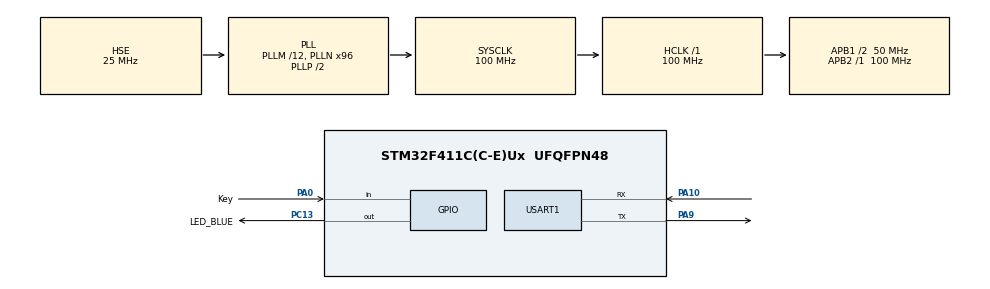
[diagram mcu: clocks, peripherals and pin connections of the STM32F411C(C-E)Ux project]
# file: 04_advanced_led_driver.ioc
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FREERTOS.Tasks01=defaultTask,24,128,StartDefaultTask,Default,NULL,Dynamic,NULL,NULL
Mcu.Family=STM32F4
Mcu.Name=STM32F411C(C-E)Ux
Mcu.Package=UFQFPN48
NVIC.PriorityGroup=NVIC_PRIORITYGROUP_4
NVIC.TIM1_UP_TIM10_IRQn=true\:15\:0\:false\:false\:true\:false\:false\:true\:true
NVIC.TimeBase=TIM1_UP_TIM10_IRQn
NVIC.TimeBaseIP=TIM1
PA0-WKUP.GPIO_Label=Key
PA0-WKUP.GPIO_PuPd=GPIO_PULLUP
PA0-WKUP.Signal=GPIO_Input
PA10.Mode=Asynchronous
PA10.Signal=USART1_RX
PA13.Mode=Serial_Wire
PA13.Signal=SYS_JTMS-SWDIO
PA14.Mode=Serial_Wire
PA14.Signal=SYS_JTCK-SWCLK
PA9.Mode=Asynchronous
PA9.Signal=USART1_TX
PC13-ANTI_TAMP.GPIO_Label=LED_BLUE
PC13-ANTI_TAMP.PinState=GPIO_PIN_SET
PC13-ANTI_TAMP.Signal=GPIO_Output
PC14-OSC32_IN.Mode=LSE-External-Oscillator
PC14-OSC32_IN.Signal=RCC_OSC32_IN
PC15-OSC32_OUT.Mode=LSE-External-Oscillator
PC15-OSC32_OUT.Signal=RCC_OSC32_OUT
PH0\ -\ OSC_IN.Mode=HSE-External-Oscillator
PH0\ -\ OSC_IN.Signal=RCC_OSC_IN
PH1\ -\ OSC_OUT.Mode=HSE-External-Oscillator
PH1\ -\ OSC_OUT.Signal=RCC_OSC_OUT
ProjectManager.HeapSize=0x200
ProjectManager.StackSize=0x400
ProjectManager.TargetToolchain=MDK-ARM V5.32
RCC.48MHZClocksFreq_Value=50000000
RCC.AHBFreq_Value=100000000
RCC.APB1CLKDivider=RCC_HCLK_DIV2
RCC.APB1Freq_Value=50000000
RCC.APB1TimFreq_Value=100000000
RCC.APB2Freq_Value=100000000
RCC.APB2TimFreq_Value=100000000
RCC.CortexFreq_Value=100000000
RCC.HCLKFreq_Value=100000000
RCC.HSE_VALUE=25000000
RCC.HSI_VALUE=16000000
RCC.PLLM=12
RCC.PLLN=96
RCC.PLLSourceVirtual=RCC_PLLSOURCE_HSE
RCC.SYSCLKFreq_VALUE=100000000
RCC.SYSCLKSource=RCC_SYSCLKSOURCE_PLLCLK
RCC.VCOOutputFreq_Value=200000000
USART1.VirtualMode=VM_ASYNC
VP_FREERTOS_VS_CMSIS_V2.Mode=CMSIS_V2
VP_SYS_VS_tim1.Mode=TIM1
board=custom

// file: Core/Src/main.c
/* USER CODE BEGIN Header */
/**
 ******************************************************************************
 * @file           : main.c
 * @brief          : Main program body
 ******************************************************************************
 * @attention
 *
 * Copyright (c) 2025 STMicroelectronics.
 * All rights reserved.
 *
 * This software is licensed under terms that can be found in the LICENSE file
 * in the root directory of this software component.
 * If no LICENSE file comes with this software, it is provided AS-IS.
 *
 ******************************************************************************
 */
/* USER CODE END Header */
#include "main.h"
#include "cmsis_os.h"
#include "usart.h"
#include "gpio.h"

/* USER CODE BEGIN Includes */
#include <stdio.h>

/* USER CODE END Includes */

void SystemClock_Config(void);
void MX_FREERTOS_Init(void);

int main(void)
{

    /* MCU Configuration--------------------------------------------------------*/

    /* Reset of all peripherals, Initializes the Flash interface and the Systick. */
    HAL_Init();

    /* Configure the system clock */
    SystemClock_Config();

    /* Initialize all configured peripherals */
    MX_GPIO_Init();
    MX_USART1_UART_Init();

    /* Init scheduler */
    osKernelInitialize(); /* Call init function for freertos objects (in freertos.c) */
    MX_FREERTOS_Init();

    /* Start scheduler */
    osKernelStart();
    /* We should never get here as control is now taken by the scheduler */
    /* Infinite loop */
    while (1)
    {

    }
}

void SystemClock_Config(void)
{
    RCC_OscInitTypeDef RCC_OscInitStruct = { 0 };
    RCC_ClkInitTypeDef RCC_ClkInitStruct = { 0 };

    /** Configure the main internal regulator output voltage
     */
    __HAL_RCC_PWR_CLK_ENABLE();
    __HAL_PWR_VOLTAGESCALING_CONFIG(PWR_REGULATOR_VOLTAGE_SCALE1);

    /** Initializes the RCC Oscillators according to the specified parameters
     * in the RCC_OscInitTypeDef structure.
     */
    RCC_OscInitStruct.OscillatorType = RCC_OSCILLATORTYPE_HSE;
    RCC_OscInitStruct.HSEState       = RCC_HSE_ON;
    RCC_OscInitStruct.PLL.PLLState   = RCC_PLL_ON;
    RCC_OscInitStruct.PLL.PLLSource  = RCC_PLLSOURCE_HSE;
    RCC_OscInitStruct.PLL.PLLM       = 12;
    RCC_OscInitStruct.PLL.PLLN       = 96;
    RCC_OscInitStruct.PLL.PLLP       = RCC_PLLP_DIV2;
    RCC_OscInitStruct.PLL.PLLQ       = 4;
    if (HAL_RCC_OscConfig(&RCC_OscInitStruct) != HAL_OK)
    {
        Error_Handler();
    }

    /** Initializes the CPU, AHB and APB buses clocks
     */
    RCC_ClkInitStruct.ClockType = RCC_CLOCKTYPE_HCLK | RCC_CLOCKTYPE_SYSCLK
                                  | RCC_CLOCKTYPE_PCLK1 | RCC_CLOCKTYPE_PCLK2;
    RCC_ClkInitStruct.SYSCLKSource   = RCC_SYSCLKSOURCE_PLLCLK;
    RCC_ClkInitStruct.AHBCLKDivider  = RCC_SYSCLK_DIV1;
    RCC_ClkInitStruct.APB1CLKDivider = RCC_HCLK_DIV2;
    RCC_ClkInitStruct.APB2CLKDivider = RCC_HCLK_DIV1;

    if (HAL_RCC_ClockConfig(&RCC_ClkInitStruct, FLASH_LATENCY_3) != HAL_OK)
    {
        Error_Handler();
    }
}

void HAL_TIM_PeriodElapsedCallback(TIM_HandleTypeDef *htim)
{
    if (htim->Instance == TIM1)
    {
        HAL_IncTick();
    }
}

void Error_Handler(void)
{
    __disable_irq();
    while (1)
    {
    }
}

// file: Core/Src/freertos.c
/* USER CODE BEGIN Header */
/**
 ******************************************************************************
 * File Name          : freertos.c
 * Description        : Code for freertos applications
 ******************************************************************************
 * @attention
 *
 * Copyright (c) 2025 STMicroelectronics.
 * All rights reserved.
 *
 * This software is licensed under terms that can be found in the LICENSE file
 * in the root directory of this software component.
 * If no LICENSE file comes with this software, it is provided AS-IS.
 *
 ******************************************************************************
 */
/* USER CODE END Header */

#include "FreeRTOS.h"
#include "queue.h"
#include "task.h"
#include "main.h"
#include "cmsis_os2.h"

/* USER CODE BEGIN Includes */
#include "bsp_led_driver.h"
#include "bsp_led_handler.h"
/* USER CODE END Includes */

/* Definitions for defaultTask */
osThreadId_t         defaultTaskHandle;
const osThreadAttr_t defaultTask_attributes = {
    .name       = "defaultTask",
    .stack_size = 512 * 4, /* 128 words */
    .priority   = (osPriority_t)osPriorityNormal,
};

/* USER CODE BEGIN FunctionPrototypes */

#if 0
/**********************unit test for led driver -- begin********************/
/**
 * @brief  Simulated OS delay function for unit testing
 * @param[in]  ms : Delay duration in milliseconds
 * @retval LED_OK Always returns success status
 */
led_status_t os_delay_ms_zz (const uint32_t ms)
{
    DEBUG_OUT("Info: Enter os_delay_ms_zz!\r\n");
    printf("delay %d ms \r\n", ms);
    return LED_OK;
}

os_delay_t os_delay_ms =
{
    .pf_os_delay_ms = os_delay_ms_zz,
};

/**
 * @brief  Simulated LED on function for unit testing
 * @retval LED_OK Always returns success status
 */
led_status_t led_on_zz (void)
{
    DEBUG_OUT("Info: Enter led_on_zz!\r\n");
    return LED_OK;
}
/**
 * @brief  Simulated LED off function for unit testing
 * @retval LED_OK Always returns success status
 */
led_status_t led_off_zz (void)
{
    DEBUG_OUT("Info: Enter led_off_zz!\r\n");
    return LED_OK;
}
led_operations_t led_ops =
{
    .pf_led_on  = led_on_zz,
    .pf_led_off = led_off_zz,
};

/**
 * @brief  Simulated time base getter function for unit testing
 * @param[out] time_base Pointer to store the time base value
 * @retval LED_OK Always returns success status
 */
led_status_t get_time_base_ms_zz (uint32_t *const time_base)
{
    DEBUG_OUT("Info: Enter get_time_base_ms_zz!\r\n");

    *time_base = 1000;
    return LED_OK;
}
time_base_t time_base_ms =
{
    .pf_get_time_base_ms = get_time_base_ms_zz,
};

/**
 * @brief  Unit test for bsp_led_driver_t.
 * @param  None
 * @retval None
 */
void Test_led_driver (void)
{
    led_status_t ret = LED_OK;
    bsp_led_driver_t led_test1;
    bsp_led_driver_t led_test2;
    ret = led_driver_inst(&led_test1,
                          &os_delay_ms,
                          &led_ops,
                          &time_base_ms);
    if ( LED_OK != ret )
    {
        DEBUG_OUT("Error: Construct led_test1 failed!\r\n");
    }
    else
    {
        DEBUG_OUT("Info: Construct led_test1 success!\r\n");
    }

    ret = led_driver_inst(&led_test2,
                          &os_delay_ms,
                          &led_ops,
                          &time_base_ms);
    if ( LED_OK != ret )
    {
        DEBUG_OUT("Error: Construct led_test2 failed!\r\n");
    }
    else
    {
        DEBUG_OUT("Info: Construct led_test2 success!\r\n");
    }

    ret = led_test1.pf_led_controler(&led_test1, 5, 5, PROPORTION_ON_OFF_1_1);
    if ( LED_OK != ret )
    {
        DEBUG_OUT("Error: led_test1 execute led_control failed!\r\n");
    }
    else
    {
        DEBUG_OUT("Info: led_test1 Execute led_control success!\r\n");
    }

    ret = led_test2.pf_led_controler(&led_test2, 2, 5, PROPORTION_ON_OFF_1_1);
    if ( LED_OK != ret )
    {
        DEBUG_OUT("Error: led_test2 Execute led_control failed!\r\n");
    }
    else
    {
        DEBUG_OUT("Info: led_test2 Execute led_control success!\r\n");
    }
}
/**********************unit test for led driver -- end**********************/

/**********************unit test for led handler -- begin*******************/

/**
 * @brief  Simulated OS delay function for handler unit testing
 * @param[in] delay_ms : Delay duration in milliseconds
 * @retval HANDLER_OK Always returns success status
 */
led_handler_status_t os_delay_ms_handler (const uint32_t delay_ms)
{
    DEBUG_OUT("Info: Enter os_delay_ms_handler!\r\n");
    return HANDLER_OK;
}

handler_os_delay_t os_delay_handler =
{
    .pf_os_delay_ms = os_delay_ms_handler,
};

/* OS queue create */
led_handler_status_t os_queue_create_handler (
                                            uint32_t const        item_num,
                                            uint32_t const       item_size,
                                            void   **const p_queue_handler
                                             )
{
    led_handler_status_t ret = HANDLER_OK;
    DEBUG_OUT("Info: Enter os_queue_create_handler!\r\n");

    QueueHandle_t queue_handler = xQueueCreate(item_num, item_size);
    if ( NULL == queue_handler )
    {
        DEBUG_OUT("Error: Create queue failed!\r\n");
        ret = HANDLER_ERRORRESOURCE;
    }
    else
    {
        *p_queue_handler = queue_handler;
    }
    return ret;
}

/* OS queue put    */
led_handler_status_t os_queue_put_handler  (
                                        void    *const p_queue_handler,
                                        void    *const          p_item,
                                        uint32_t const         timeout
                                           )
{
    led_handler_status_t ret = HANDLER_OK;
    DEBUG_OUT("Info: Enter pf_os_queue_put!\r\n");

    if ( NULL == p_queue_handler  ||
         NULL == p_item           ||
         timeout > portMAX_DELAY
       )
    {
        DEBUG_OUT("Error: Invalid queue handler!\r\n");
        ret = HANDLER_ERRORPARAMETER;
        return ret;
    }

    if ( pdTRUE != xQueueSend( (QueueHandle_t)p_queue_handler,
                               (void *       )         p_item,
                               (TickType_t   )        timeout
                             )
       )
    {
        DEBUG_OUT("Error: Send queue failed!\r\n");
        ret = HANDLER_ERRORRESOURCE;
    }

    return ret;
}
/* OS queue get    */
led_handler_status_t os_queue_get_handler  (
                                        void    *const p_queue_handler,
                                        void    *const           p_meg,
                                        uint32_t const         timeout
                                           )
{
    led_handler_status_t ret = HANDLER_OK;
    DEBUG_OUT("Info: Enter pf_os_queue_get!\r\n");

    if ( NULL == p_queue_handler  ||
         NULL == p_meg            ||
         timeout > portMAX_DELAY
       )
    {
        DEBUG_OUT("Error: Invalid queue handler!\r\n");
        ret = HANDLER_ERRORPARAMETER;
        return ret;
    }

    if ( pdTRUE != xQueueReceive( (QueueHandle_t)p_queue_handler,
                                  (void *       )         p_meg,
                                  (TickType_t   )        timeout
                                )
       )
    {
        DEBUG_OUT("Error: Receive queue failed!\r\n");
        ret = HANDLER_ERRORRESOURCE;
    }

    return ret;
}

/* OS queue delete */
led_handler_status_t os_queue_delete_handler (
                                        void    *const p_queue_handler
                                             )
{
    led_handler_status_t ret = HANDLER_OK;
    DEBUG_OUT("Info: Enter pf_os_queue_delete!\r\n");

    if ( NULL == p_queue_handler )
    {
        DEBUG_OUT("Error: Invalid queue handler!\r\n");
        ret = HANDLER_ERRORPARAMETER;
        return ret;
    }

    vQueueDelete( (QueueHandle_t)p_queue_handler );

    return ret;
}
handler_os_queue_t os_queue_handler =
{
    .pf_os_queue_create = os_queue_create_handler,
    .pf_os_queue_put    =    os_queue_put_handler,
    .pf_os_queue_get    =    os_queue_get_handler,
    .pf_os_queue_delete = os_queue_delete_handler,
};

/* enter critica.                    */
led_handler_status_t os_critical_enter       (void)
{
    led_handler_status_t ret = HANDLER_OK;
    DEBUG_OUT("Info: Enter pf_os_critical_enter!\r\n");

    vPortEnterCritical();

    return ret;
}
/* exit critica.                     */
led_handler_status_t os_critical_exit        (void)
{
    led_handler_status_t ret = HANDLER_OK;
    DEBUG_OUT("Info: Enter pf_os_critical_enter!\r\n");

    vPortExitCritical();

    return ret;
}
handler_os_critical_t os_critical_handler =
{
    .pf_os_critical_enter = os_critical_enter,
    .pf_os_critical_exit  =  os_critical_exit,
};

/* OS thread create */
led_handler_status_t pf_os_thread_create (
                                TaskFunction_t   const p_task_code     ,
                                void            *const p_task_arg      ,
                          const void            *const p_task_attribute,
                                void           **const p_thread_handler
                                            )
{
    led_handler_status_t ret = HANDLER_OK;
    DEBUG_OUT("Info: Enter pf_os_thread_create!\r\n");
    task_atrribute_t task_atrribute =
    {
#ifdef FREERTOS_SUPPORTING
        .freeRTOS_attribute =
        {
            .name        = "defaultTask_handler"          ,
            .stack_depth = 512 * 4                        ,
            .priority    = (osPriority_t) osPriorityNormal,
/*
Question:
    1. why tasks are pass when priority is different with defaultTask?
    2. why tasks are locked when priority is not different with defaultTask?
Guess:
    1. Someone of tasks should be hungry.
*/
        }
#else
        0
#endif // end of FREERTOS_SUPPORTING
    };
    if ( NULL == p_task_code )
    {
        DEBUG_OUT("Error: Invalid task code!\r\n");
        ret = HANDLER_ERRORPARAMETER;
        return ret;
    }

    if ( NULL != p_task_attribute )
    {
        memcpy(&task_atrribute, p_task_attribute, sizeof(task_atrribute_t));
    }

#ifdef FREERTOS_SUPPORTING
    if ( pdPASS != xTaskCreate(
            (TaskFunction_t        )p_task_code                                  ,
            (const char           *)task_atrribute.freeRTOS_attribute.name       ,
            (configSTACK_DEPTH_TYPE)task_atrribute.freeRTOS_attribute.stack_depth,
            (void                 *)p_task_arg                                   ,
            (UBaseType_t           )task_atrribute.freeRTOS_attribute.priority   ,
            (TaskHandle_t         *)p_thread_handler                             )
       )
    {
        DEBUG_OUT("Error: Create thread failed!\r\n");
        ret = HANDLER_ERRORRESOURCE;
        return ret;
    }
#endif // end of FREERTOS_SUPPORTING

    DEBUG_OUT("Info: Create thread success!\r\n");
    return ret;
}
/* OS thread delete */
led_handler_status_t pf_os_thread_delete (
                                        void    *const p_thread_handler
                                         )
{
    led_handler_status_t ret = HANDLER_OK;
    DEBUG_OUT("Info: Enter pf_os_thread_delete!\r\n");
    if ( NULL == p_thread_handler )
    {
        DEBUG_OUT("Error: Invalid thread handler!\r\n");
        ret = HANDLER_ERRORPARAMETER;
        return ret;
    }

    vTaskDelete( (TaskHandle_t)p_thread_handler );

    DEBUG_OUT("Info: Delete thread success!\r\n");
    return ret;
}
handler_os_thread_t os_thread_handler =
{
    .pf_os_thread_create = pf_os_thread_create,
    .pf_os_thread_delete = pf_os_thread_delete,
};

led_handler_status_t get_time_base_ms (uint32_t *const time_stamp)
{
    led_handler_status_t ret = HANDLER_OK;
    DEBUG_OUT("Info: Enter get_time_base_ms!\r\n");

    if ( NULL == time_stamp )
    {
        DEBUG_OUT("Error: Parameter error!\r\n");
        ret = HANDLER_ERRORPARAMETER;
        return ret;
    }

    *time_stamp = HAL_GetTick();

    return ret;
}
handler_time_base_t time_base_handler =
{
    .pf_get_time_base_ms = get_time_base_ms,
};

/**
 * @brief  Unit test for bsp_led_handler_t.
 * @param  None
 * @retval None
 */
void Test_led_handler (void)
{
//******************************** Handler ********************************//
    DEBUG_OUT("Begin: --------- Test led handler inst -------------\r\n");
    led_handler_status_t ret = HANDLER_OK;
    bsp_led_handler_t handler1;
    ret = led_handler_inst(&handler1           ,
                           &os_delay_handler   ,
                           &os_queue_handler   ,
                           &os_critical_handler,
                           &os_thread_handler  ,
                           &time_base_handler );

    if ( HANDLER_OK != ret )
    {
        DEBUG_OUT("Error: Construct handler failed!\r\n");
        return;
    }
    DEBUG_OUT("End  : --------- Test led handler inst -------------\r\n\r\n");
//******************************** Driver *********************************//
    DEBUG_OUT("Begin: ---------- Test led driver inst -------------\r\n");
    bsp_led_driver_t led_test1;
    led_driver_inst(&led_test1,
                    &os_delay_ms,
                    &led_ops,
                    &time_base_ms);

    bsp_led_driver_t led_test2;
    led_driver_inst(&led_test2,
                    &os_delay_ms,
                    &led_ops,
                    &time_base_ms);

    bsp_led_driver_t led_test3;
    led_driver_inst(&led_test3,
                    &os_delay_ms,
                    &led_ops,
                    &time_base_ms);

    bsp_led_driver_t led_test4;
    led_driver_inst(&led_test4,
                    &os_delay_ms,
                    &led_ops,
                    &time_base_ms);

    DEBUG_OUT("End  : ---------- Test led driver inst -------------\r\n\r\n");
//**************************** Intergrated Test ***************************//
    DEBUG_OUT("Begin: --------- Test handler register -------------\r\n");
    // mov LED_NOT_INITIALIZED dword ptr [handler_index] -- 线程1
    led_index_t handler_index[4] = { LED_NOT_INITIALIZED };
    ret = handler1.pf_led_register(&handler1, &led_test1, &handler_index[0]);
    ret = handler1.pf_led_register(&handler1, &led_test2, &handler_index[1]);
    ret = handler1.pf_led_register(&handler1, &led_test3, &handler_index[2]);
    ret = handler1.pf_led_register(&handler1, &led_test4, &handler_index[3]);

    for (uint8_t i = 0; i < 4; i++)
    {
        printf("handler_index[%d] = [%d]\r\n", i, handler_index[i]);
    }

    if ( HANDLER_OK != ret )
    {
        DEBUG_OUT("Error: Test handler failed!\r\n");
        return;
    }

    DEBUG_OUT("End  : --------- Test handler register -------------\r\n\r\n");
//********************* The external API for AP ***************************//
    DEBUG_OUT("Begin: --------- Test handler controler ------------\r\n");
    // so handler_index[0] is invalid.
    handler1.pf_handler_led_controler(&handler1,
                                      handler_index[0], // 线程2, 优先于线程1执行
                                      5,
                                      5,
                                      PROPORTION_ON_OFF_1_1);
    for (;;)
    {
        handler1.pf_handler_led_controler(&handler1,
                                          handler_index[1],
                                          2,
                                          1,
                                          PROPORTION_ON_OFF_1_1);
        handler1.pf_handler_led_controler(&handler1,
                                          handler_index[2],
                                          1,
                                          1,
                                          PROPORTION_ON_OFF_1_2);
        handler1.pf_handler_led_controler(&handler1,
                                          handler_index[3],
                                          3,
                                          2,
                                          PROPORTION_ON_OFF_1_3);
        osDelay(3000);
    }

    DEBUG_OUT("End  : --------- Test handler controler ------------\r\n\r\n");
    DEBUG_OUT("Info: Test handler success!\r\n");

    while(1);
}

/**********************unit test for led handler -- begin*******************/
#endif // End of 0
/* USER CODE END FunctionPrototypes */

void StartDefaultTask(void *argument);

void MX_FREERTOS_Init(void); /* (MISRA C 2004 rule 8.1) */

void MX_FREERTOS_Init(void)
{

    /* Create the thread(s) */
    /* creation of defaultTask */
    defaultTaskHandle = osThreadNew(StartDefaultTask,
                                    NULL,
                                    &defaultTask_attributes);

}

void StartDefaultTask(void *argument)
{
    /* USER CODE BEGIN StartDefaultTask */
    /* Infinite loop */
    /* unit test for led driver         */
    DEBUG_OUT("Info: StartDefaultTask!\r\n");
    // Test_led_driver();
    // Test_led_handler();
    static uint32_t start_count = 0;

    for (;;)
    {
        start_count ++;
        osDelay(100);
    }
    /* USER CODE END StartDefaultTask */
}
